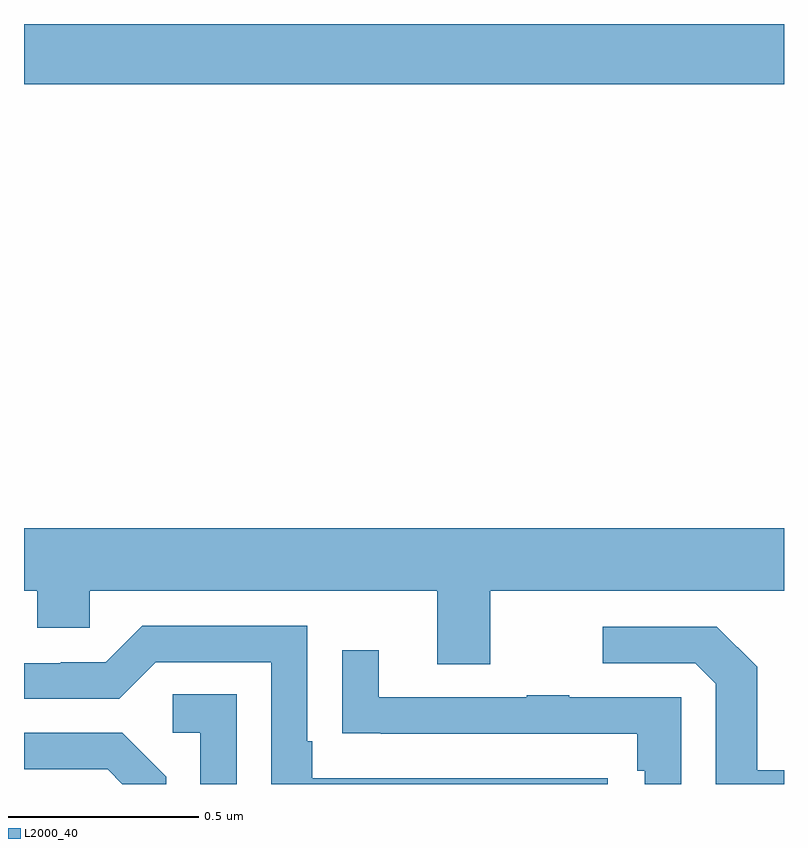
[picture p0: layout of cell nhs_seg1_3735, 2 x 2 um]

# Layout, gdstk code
import gdstk
lib = gdstk.Library(unit=1e-6, precision=1e-09)
def R(c, l, rs):  # rectangles x0, y0, x1, y1
    for r in rs: c.add(gdstk.rectangle(r[:2], r[2:], *l))
def P(c, l, *ps):  # polygons
    for p in ps: c.add(gdstk.Polygon(p, *l))
L2000_40 = (2000, 40)

nhs_seg1_3735 = lib.new_cell('nhs_seg1_3735')
R(nhs_seg1_3735, L2000_40, [(157,577.04,159,577.199)])
P(nhs_seg1_3735, L2000_40, [(158.227,575.708),(159,575.708),(159,575.872),(157,575.872),(157,575.708),(157.035,575.708),(157.035,575.61),(157.173,575.61),(157.173,575.708),(158.087,575.708),(158.087,575.514),(158.227,575.514)],
  [(158.536,575.214),(157.759,575.214),(157.759,575.311),(157.746,575.311),(157.746,575.616),(157.311,575.616),(157.215,575.52),(157.097,575.52),(157.097,575.517),(157,575.517),(157,575.424),(157.251,575.424),(157.347,575.52),(157.65,575.52),(157.65,575.199),(158.536,575.199)],
  [(159,575.235),(158.929,575.235),(158.929,575.507),(158.823,575.613),(158.523,575.613),(158.523,575.517),(158.766,575.517),(158.82,575.463),(158.82,575.199),(159,575.199)],
  [(158.73,575.427),(158.435,575.427),(158.435,575.432),(158.323,575.432),(158.323,575.427),(157.933,575.427),(157.933,575.551),(157.837,575.551),(157.837,575.332),(157.939,575.332),(157.939,575.331),(158.614,575.331),(158.614,575.234),(158.634,575.234),(158.634,575.199),(158.73,575.199)],
  [(157.56,575.435),(157.392,575.435),(157.392,575.334),(157.464,575.334),(157.464,575.199),(157.56,575.199)],
  [(157.374,575.218),(157.258,575.334),(157,575.334),(157,575.238),(157.22,575.238),(157.259,575.199),(157.374,575.199)])

lib.write_gds('nhs_seg1_3735.gds')
